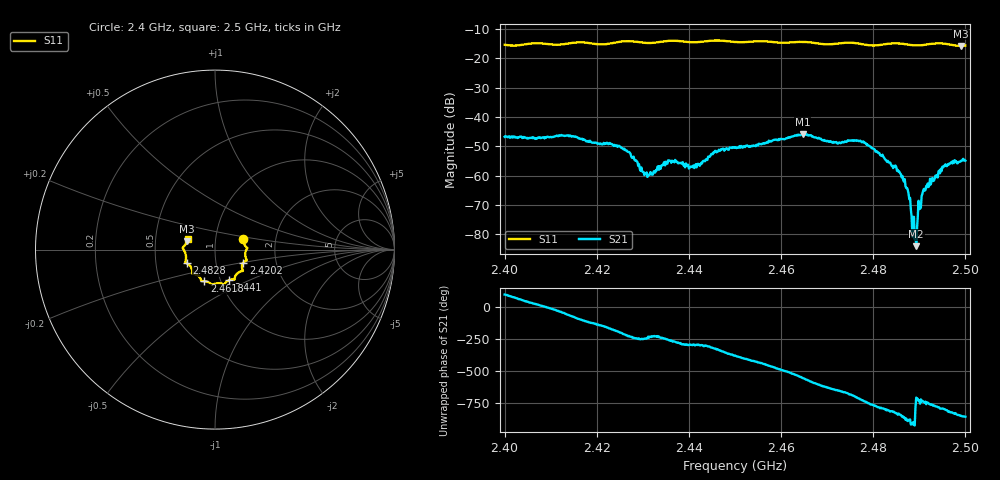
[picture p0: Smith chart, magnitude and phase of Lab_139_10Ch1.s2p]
# Hz S RI R 50
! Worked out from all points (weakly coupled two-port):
!   601 points, 2.4 GHz to 2.5 GHz, reference 50 ohm
!   highest |S21| = -45.81 dB at 2.4647 GHz (marker M1); lowest = -84.0 dB at 2.4893 GHz (marker M2)
!   lowest |S11| = -15.8 dB at 2.499 GHz (marker M3), VSWR 1.39, Z = 36.4 + j3.54 ohm
!   |S11| at or under -10 dB: start of sweep to end of sweep
!   S12 and S22 are empty: the file has one direction only
!   S11 on the Smith chart (normalised r, x): 2.4 GHz: 1.36, +0.17; 2.4202 GHz: 1.36, -0.20; 2.441 GHz: 1.10, -0.39; 2.4618 GHz: 0.84, -0.30; 2.4828 GHz: 0.72, -0.11; 2.5 GHz: 0.73, +0.09
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2.4e9  0.1582 0.0618  -0.000291 0.00459  0 0  0 0
2.416667e9  0.1769 -0.0605  -0.000995 -0.00409  0 0  0 0
2.420167e9  0.1581 -0.072  -0.00272 -0.00219  0 0  0 0
2.4265e9  0.1561 -0.1183  -0.00195 0.00184  0 0  0 0
2.430833e9  0.1279 -0.1301  -0.000355 0.00108  0 0  0 0
2.433333e9  0.1116 -0.1512  -0.000755 0.00124  0 0  0 0
2.441e9  0.0783 -0.1702  0.000652 0.00135  0 0  0 0
2.45e9  0.0277 -0.1875  0.00282 -0.0012  0 0  0 0
2.461833e9  -0.0599 -0.1758  -0.00411 -0.0019  0 0  0 0
2.464667e9  -0.0755 -0.1746  -0.00488 0.00155  0 0  0 0
2.466667e9  -0.0786 -0.1677  -0.003 0.00356  0 0  0 0
2.477667e9  -0.1272 -0.118  0.00366 -0.000809  0 0  0 0
2.482833e9  -0.1572 -0.0768  -2.42e-05 -0.00182  0 0  0 0
2.483333e9  -0.1603 -0.0753  -5.13e-05 -0.00168  0 0  0 0
2.486333e9  -0.1643 -0.0645  -0.000794 -0.00059  0 0  0 0
2.4875e9  -0.1622 -0.0543  -0.000567 -4.71e-05  0 0  0 0
2.488833e9  -0.1616 -0.0385  -0.000179 8.73e-05  0 0  0 0
2.489333e9  -0.1624 -0.0321  6.23e-05 8.69e-06  0 0  0 0
2.491333e9  -0.17 -0.00776  0.000524 -0.000229  0 0  0 0
2.495167e9  -0.1778 0.0134  0.000286 -0.00136  0 0  0 0
2.499e9  -0.1556 0.0474  -0.0012 -0.00132  0 0  0 0
2.5e9  -0.1527 0.0615  -0.0014 -0.00113  0 0  0 0
